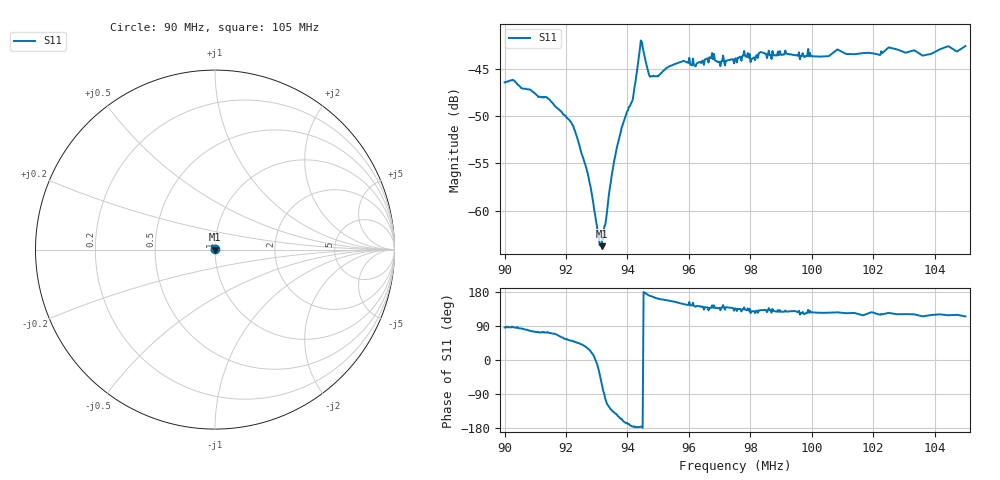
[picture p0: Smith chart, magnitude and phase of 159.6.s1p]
# HZ S RI R 50
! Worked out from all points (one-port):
!   505 points, 90 MHz to 105 MHz, reference 50 ohm
!   lowest |S11| = -63.8 dB at 93.15 MHz (marker M1), VSWR 1.00, Z = 50 - j0.0568 ohm
!   |S11| at or under -10 dB: start of sweep to end of sweep
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9e7  0.000343 0.00475
9.026786e7  0.000291 0.0049
9.136905e7  0.00122 0.00379
9.187501e7  0.00167 0.00283
9.217263e7  0.00186 0.00225
9.23512e7  0.00172 0.00177
9.27381e7  0.00131 0.000702
9.303572e7  0.000714 -0.000241
9.315477e7  0.000316 -0.000567
9.327382e7  -0.000163 -0.000822
9.354168e7  -0.00125 -0.00117
9.375001e7  -0.00222 -0.00114
9.416668e7  -0.00382 -0.000311
9.443454e7  -0.00791 -0.000581
9.476192e7  -0.00501 0.00103
9.562502e7  -0.0053 0.00285
9.622026e7  -0.00447 0.00367
9.675597e7  -0.00553 0.00397
9.696431e7  -0.0045 0.00414
9.750002e7  -0.00456 0.0044
9.836312e7  -0.00458 0.00513
9.937503e7  -0.00415 0.00519
1.0125e8  -0.00373 0.00558
1.021727e8  -0.00338 0.00576
1.025298e8  -0.00407 0.00602
1.03125e8  -0.00355 0.0059
1.036608e8  -0.00287 0.00596
1.05e8  -0.00313 0.00671
